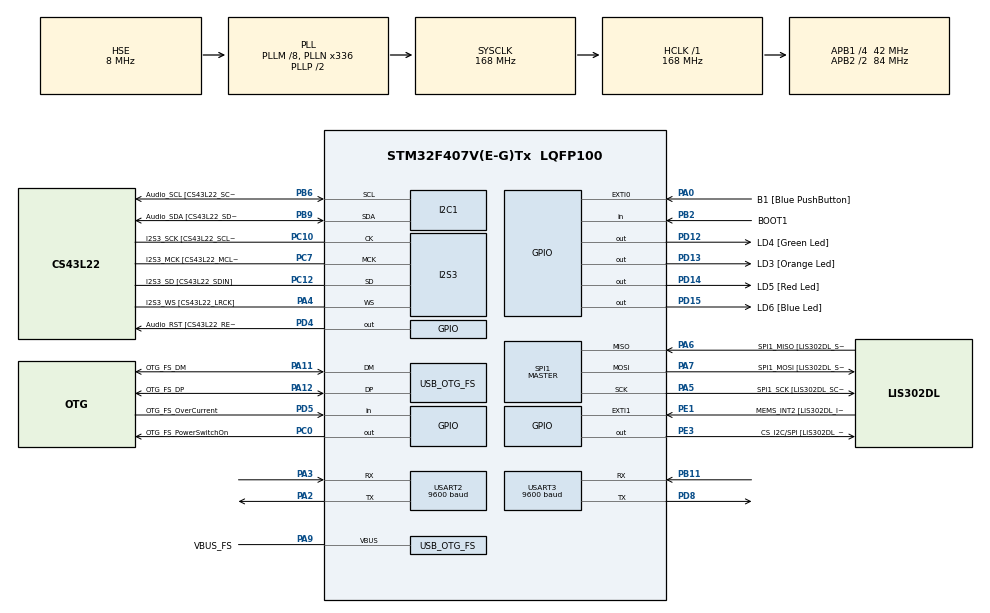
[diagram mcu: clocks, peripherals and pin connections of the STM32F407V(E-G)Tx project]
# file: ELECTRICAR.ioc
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I2S3.AudioFreq-Half_Duplex_Master=I2S_AUDIOFREQ_96K
I2S3.ErrorAudioFreq=-2.34 %
I2S3.ErrorAudioFreq-Half_Duplex_Master=0.8 %
I2S3.FullDuplexMode=I2S_FULLDUPLEXMODE_DISABLE
I2S3.Instance=SPI$Index
I2S3.RealAudioFreq=93.75 KHz
I2S3.RealAudioFreq-Half_Duplex_Master=96.774 KHz
I2S3.VirtualMode=I2S_MODE_MASTER
Mcu.Family=STM32F4
Mcu.Name=STM32F407V(E-G)Tx
Mcu.Package=LQFP100
NVIC.OTG_FS_IRQn=true\:0\:0\:false\:false\:true\:true\:true
NVIC.PriorityGroup=NVIC_PRIORITYGROUP_0
NVIC.USART2_IRQn=true\:0\:0\:false\:false\:true\:true\:true
NVIC.USART3_IRQn=true\:0\:0\:false\:false\:true\:true\:true
PA0-WKUP.GPIO_Label=B1 [Blue PushButton]
PA0-WKUP.GPIO_ModeDefaultEXTI=GPIO_MODE_EVT_RISING
PA0-WKUP.GPIO_PuPd=GPIO_NOPULL
PA0-WKUP.Signal=GPXTI0
PA10.GPIO_Label=OTG_FS_ID
PA10.GPIO_Mode=GPIO_MODE_AF_PP
PA10.GPIO_PuPd=GPIO_NOPULL
PA10.GPIO_Speed=GPIO_SPEED_FREQ_LOW
PA10.Signal=USB_OTG_FS_ID
PA11.GPIO_Label=OTG_FS_DM
PA11.GPIO_Mode=GPIO_MODE_AF_PP
PA11.GPIO_PuPd=GPIO_NOPULL
PA11.GPIO_Speed=GPIO_SPEED_FREQ_LOW
PA11.Mode=Host_Only
PA11.Signal=USB_OTG_FS_DM
PA12.GPIO_Label=OTG_FS_DP
PA12.GPIO_Mode=GPIO_MODE_AF_PP
PA12.GPIO_PuPd=GPIO_NOPULL
PA12.GPIO_Speed=GPIO_SPEED_FREQ_LOW
PA12.Mode=Host_Only
PA12.Signal=USB_OTG_FS_DP
PA13.GPIO_Label=SWDIO
PA13.Mode=Serial_Wire
PA13.Signal=SYS_JTMS-SWDIO
PA14.GPIO_Label=SWCLK
PA14.Mode=Serial_Wire
PA14.Signal=SYS_JTCK-SWCLK
PA2.Mode=Asynchronous
PA2.Signal=USART2_TX
PA3.Mode=Asynchronous
PA3.Signal=USART2_RX
PA4.GPIO_Label=I2S3_WS [CS43L22_LRCK]
PA4.GPIO_Mode=GPIO_MODE_AF_PP
PA4.GPIO_PuPd=GPIO_NOPULL
PA4.GPIO_Speed=GPIO_SPEED_FREQ_LOW
PA4.Mode=Half_Duplex_Master
PA4.Signal=I2S3_WS
PA5.GPIO_Label=SPI1_SCK [LIS302DL_SCL/SPC]
PA5.GPIO_Mode=GPIO_MODE_AF_PP
PA5.GPIO_PuPd=GPIO_NOPULL
PA5.GPIO_Speed=GPIO_SPEED_FREQ_LOW
PA5.Mode=Full_Duplex_Master
PA5.Signal=SPI1_SCK
PA6.GPIO_Label=SPI1_MISO [LIS302DL_SDO]
PA6.GPIO_Mode=GPIO_MODE_AF_PP
PA6.GPIO_PuPd=GPIO_NOPULL
PA6.GPIO_Speed=GPIO_SPEED_FREQ_LOW
PA6.Mode=Full_Duplex_Master
PA6.Signal=SPI1_MISO
PA7.GPIO_Label=SPI1_MOSI [LIS302DL_SDA/SDI/SDO]
PA7.GPIO_Mode=GPIO_MODE_AF_PP
PA7.GPIO_PuPd=GPIO_NOPULL
PA7.GPIO_Speed=GPIO_SPEED_FREQ_LOW
PA7.Mode=Full_Duplex_Master
PA7.Signal=SPI1_MOSI
PA9.GPIO_Label=VBUS_FS
PA9.GPIO_Mode=GPIO_MODE_INPUT
PA9.GPIO_PuPd=GPIO_NOPULL
PA9.Mode=Activate_VBUS
PA9.Signal=USB_OTG_FS_VBUS
PB10.GPIO_Label=CLK_IN [MP45DT02_CLK]
PB10.GPIO_Mode=GPIO_MODE_AF_PP
PB10.GPIO_PuPd=GPIO_NOPULL
PB10.GPIO_Speed=GPIO_SPEED_FREQ_LOW
PB10.Signal=I2S2_CK
PB11.Mode=Asynchronous
PB11.Signal=USART3_RX
PB2.GPIO_Label=BOOT1
PB2.GPIO_Mode=GPIO_MODE_INPUT
PB2.GPIO_PuPd=GPIO_NOPULL
PB2.Signal=GPIO_Input
PB3.GPIO_Label=SWO
PB3.Signal=SYS_JTDO-SWO
PB6.GPIO_Label=Audio_SCL [CS43L22_SCL]
PB6.GPIO_Mode=GPIO_MODE_AF_OD
PB6.GPIO_Pu=GPIO_PULLUP
PB6.GPIO_PuPd=GPIO_NOPULL
PB6.GPIO_Speed=GPIO_SPEED_FREQ_LOW
PB6.Mode=I2C
PB6.Signal=I2C1_SCL
PB9.GPIO_Label=Audio_SDA [CS43L22_SDA]
PB9.GPIO_Mode=GPIO_MODE_AF_OD
PB9.GPIO_Pu=GPIO_PULLUP
PB9.GPIO_PuPd=GPIO_NOPULL
PB9.GPIO_Speed=GPIO_SPEED_FREQ_LOW
PB9.Mode=I2C
PB9.Signal=I2C1_SDA
PC0.GPIO_Label=OTG_FS_PowerSwitchOn
PC0.GPIO_PuPd=GPIO_NOPULL
PC0.GPIO_Speed=GPIO_SPEED_FREQ_LOW
PC0.PinState=GPIO_PIN_SET
PC0.Signal=GPIO_Output
PC10.GPIO_Label=I2S3_SCK [CS43L22_SCLK]
PC10.GPIO_Mode=GPIO_MODE_AF_PP
PC10.GPIO_PuPd=GPIO_NOPULL
PC10.GPIO_Speed=GPIO_SPEED_FREQ_LOW
PC10.Mode=Half_Duplex_Master
PC10.Signal=I2S3_CK
PC12.GPIO_Label=I2S3_SD [CS43L22_SDIN]
PC12.GPIO_Mode=GPIO_MODE_AF_PP
PC12.GPIO_PuPd=GPIO_NOPULL
PC12.GPIO_Speed=GPIO_SPEED_FREQ_LOW
PC12.Mode=Half_Duplex_Master
PC12.Signal=I2S3_SD
PC14-OSC32_IN.GPIO_Label=PC14-OSC32_IN
PC14-OSC32_IN.Mode=LSE-External-Oscillator
PC14-OSC32_IN.Signal=RCC_OSC32_IN
PC15-OSC32_OUT.GPIO_Label=PC15-OSC32_OUT
PC15-OSC32_OUT.Mode=LSE-External-Oscillator
PC15-OSC32_OUT.Signal=RCC_OSC32_OUT
PC3.GPIO_Label=PDM_OUT [MP45DT02_DOUT]
PC3.GPIO_Mode=GPIO_MODE_AF_PP
PC3.GPIO_PuPd=GPIO_NOPULL
PC3.GPIO_Speed=GPIO_SPEED_FREQ_LOW
PC3.Signal=I2S2_SD
PC7.GPIO_Label=I2S3_MCK [CS43L22_MCLK]
PC7.GPIO_Mode=GPIO_MODE_AF_PP
PC7.GPIO_PuPd=GPIO_NOPULL
PC7.GPIO_Speed=GPIO_SPEED_FREQ_LOW
PC7.Mode=Master_Clock_Activated
PC7.Signal=I2S3_MCK
PD12.GPIO_Label=LD4 [Green Led]
PD12.GPIO_PuPd=GPIO_NOPULL
PD12.GPIO_Speed=GPIO_SPEED_FREQ_LOW
PD12.Signal=GPIO_Output
PD13.GPIO_Label=LD3 [Orange Led]
PD13.GPIO_PuPd=GPIO_NOPULL
PD13.GPIO_Speed=GPIO_SPEED_FREQ_LOW
PD13.Signal=GPIO_Output
PD14.GPIO_Label=LD5 [Red Led]
PD14.GPIO_PuPd=GPIO_NOPULL
PD14.GPIO_Speed=GPIO_SPEED_FREQ_LOW
PD14.Signal=GPIO_Output
PD15.GPIO_Label=LD6 [Blue Led]
PD15.GPIO_PuPd=GPIO_NOPULL
PD15.GPIO_Speed=GPIO_SPEED_FREQ_LOW
PD15.Signal=GPIO_Output
PD4.GPIO_Label=Audio_RST [CS43L22_RESET]
PD4.GPIO_PuPd=GPIO_NOPULL
PD4.GPIO_Speed=GPIO_SPEED_FREQ_LOW
PD4.Signal=GPIO_Output
PD5.GPIO_Label=OTG_FS_OverCurrent
PD5.GPIO_Mode=GPIO_MODE_INPUT
PD5.GPIO_PuPd=GPIO_NOPULL
PD5.Signal=GPIO_Input
PD8.Mode=Asynchronous
PD8.Signal=USART3_TX
PE1.GPIO_Label=MEMS_INT2 [LIS302DL_INT2]
PE1.GPIO_ModeDefaultEXTI=GPIO_MODE_EVT_RISING
PE1.GPIO_PuPd=GPIO_NOPULL
PE1.Signal=GPXTI1
PE3.GPIO_Label=CS_I2C/SPI [LIS302DL_CS_I2C/SPI]
PE3.GPIO_PuPd=GPIO_NOPULL
PE3.GPIO_Speed=GPIO_SPEED_FREQ_LOW
PE3.Signal=GPIO_Output
PH0-OSC_IN.GPIO_Label=PH0-OSC_IN
PH0-OSC_IN.Mode=HSE-External-Oscillator
PH0-OSC_IN.Signal=RCC_OSC_IN
PH1-OSC_OUT.GPIO_Label=PH1-OSC_OUT
PH1-OSC_OUT.Mode=HSE-External-Oscillator
PH1-OSC_OUT.Signal=RCC_OSC_OUT
ProjectManager.HeapSize=0x200
ProjectManager.StackSize=0x400
ProjectManager.TargetToolchain=STM32CubeIDE
RCC.48MHZClocksFreq_Value=48000000
RCC.AHBFreq_Value=168000000
RCC.APB1CLKDivider=RCC_HCLK_DIV4
RCC.APB1Freq_Value=42000000
RCC.APB1TimFreq_Value=84000000
RCC.APB2CLKDivider=RCC_HCLK_DIV2
RCC.APB2Freq_Value=84000000
RCC.APB2TimFreq_Value=168000000
RCC.CortexFreq_Value=168000000
RCC.HCLKFreq_Value=168000000
RCC.HSE_VALUE=8000000
RCC.HSI_VALUE=16000000
RCC.PLLM=8
RCC.PLLN=336
RCC.PLLQ=7
RCC.SYSCLKFreq_VALUE=168000000
RCC.SYSCLKSource=RCC_SYSCLKSOURCE_PLLCLK
RCC.VCOOutputFreq_Value=336000000
SPI1.BaudRatePrescaler-Full_Duplex_Master=SPI_BAUDRATEPRESCALER_2
SPI1.CalculateBaudRate-Full_Duplex_Master=42.0 MBits/s
SPI1.Direction=SPI_DIRECTION_2LINES
SPI1.Mode=SPI_MODE_MASTER
SPI1.Mode-Full_Duplex_Master=SPI_MODE_MASTER
SPI1.VirtualType=VM_MASTER
USART2.BaudRate=9600
USART2.VirtualMode=VM_ASYNC
USART3.BaudRate=9600
USART3.VirtualMode=VM_ASYNC
USB_HOST.BSP.number=1
USB_HOST.USBH_HandleTypeDef-CDC_FS=hUsbHostFS
USB_HOST.VirtualModeFS=Cdc
USB_HOST0.BSP.STBoard=false
USB_HOST0.BSP.api=Unknown
USB_HOST0.BSP.i2caddr=0
USB_HOST0.BSP.i2creg=0
USB_HOST0.BSP.instance=PC0
USB_HOST0.BSP.ip=GPIO
USB_HOST0.BSP.mode=Output
USB_HOST0.BSP.name=Drive_VBUS_FS
USB_HOST0.BSP.solution=PC0
USB_OTG_FS.VirtualMode=Host_Only
USB_OTG_FS.phy_itface=HCD_PHY_EMBEDDED
VP_USB_HOST_VS_USB_HOST_CDC_FS.Mode=CDC_FS
board=STM32F407G-DISC1

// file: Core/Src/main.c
/* USER CODE BEGIN Header */
/**
  ******************************************************************************
  * @file           : main.c
  * @brief          : Main program body
  ******************************************************************************
  * @attention
  *
  * Copyright (c) 2022 STMicroelectronics.
  * All rights reserved.
  *
  * This software is licensed under terms that can be found in the LICENSE file
  * in the root directory of this software component.
  * If no LICENSE file comes with this software, it is provided AS-IS.
  *
  ******************************************************************************
  */
/* USER CODE END Header */
#include "main.h"
#include "usb_host.h"

/* USER CODE BEGIN Includes */
#include "uartRingBuffer.h"
#include "NMEA.h"
/* USER CODE END Includes */

I2C_HandleTypeDef hi2c1;

I2S_HandleTypeDef hi2s3;

SPI_HandleTypeDef hspi1;

UART_HandleTypeDef huart2;
UART_HandleTypeDef huart3;

/* USER CODE BEGIN PV */
uint8_t count=0;
uint8_t val1=120;
uint8_t val2=180;
uint8_t val3=250;
uint8_t val4=120;
uint8_t val5=180;
uint8_t val6=250;
uint8_t val7=120;
uint8_t val8=180;
char dizi[100];
/* USER CODE END PV */

void SystemClock_Config(void);
static void MX_GPIO_Init(void);
static void MX_I2C1_Init(void);
static void MX_I2S3_Init(void);
static void MX_SPI1_Init(void);
static void MX_USART2_UART_Init(void);
static void MX_USART3_UART_Init(void);
void MX_USB_HOST_Process(void);

/* USER CODE BEGIN 0 */
char GGA[100];
char RMC[100];

GPSSTRUCT gpsData;

/* USER CODE END 0 */

int main(void)
{

  /* MCU Configuration--------------------------------------------------------*/

  /* Reset of all peripherals, Initializes the Flash interface and the Systick. */
  HAL_Init();

  /* Configure the system clock */
  SystemClock_Config();

  /* Initialize all configured peripherals */
  MX_GPIO_Init();
  MX_I2C1_Init();
  MX_I2S3_Init();
  MX_SPI1_Init();
  MX_USB_HOST_Init();
  MX_USART2_UART_Init();
  MX_USART3_UART_Init();
  /* USER CODE BEGIN 2 */

  Ringbuf_init();
  HAL_Delay(500);

  /* USER CODE END 2 */

  /* Infinite loop */
  while (1)
  {
    MX_USB_HOST_Process();

    /* USER CODE BEGIN 3 */

    if(Wait_for("GGA") == 1){
    	Copy_upto("*", GGA);
    	decodeGGA(GGA, &gpsData.ggastruct);
    }

    if(Wait_for("RMC") == 1){
        	Copy_upto("*", RMC);
        	decodeRMC(RMC, &gpsData.rmcstruct);
        }

    if(count==61){
    	count=0;
    }
    val1 = count;val2 = count;val3 = count;val4 = count;val5 = count;val6 = count;val7 = count;val8 = count;
    sprintf(dizi,"BG%dBS%dBY%dSOLG%dSOLS%dSAGG%dSAGS%dH%dEN%fBOY%f\n",val1,val2,val3,val4,val5,val6,val7,val8,(gpsData.ggastruct.lcation.latitude),(gpsData.ggastruct.lcation.longitude));
    HAL_UART_Transmit(&huart2, (uint8_t*)&dizi, strlen(dizi), 1000);
    HAL_Delay(10);
    count++;
  }
  /* USER CODE END 3 */
}

void SystemClock_Config(void)
{
  RCC_OscInitTypeDef RCC_OscInitStruct = {0};
  RCC_ClkInitTypeDef RCC_ClkInitStruct = {0};

  /** Configure the main internal regulator output voltage
  */
  __HAL_RCC_PWR_CLK_ENABLE();
  __HAL_PWR_VOLTAGESCALING_CONFIG(PWR_REGULATOR_VOLTAGE_SCALE1);
  /** Initializes the RCC Oscillators according to the specified parameters
  * in the RCC_OscInitTypeDef structure.
  */
  RCC_OscInitStruct.OscillatorType = RCC_OSCILLATORTYPE_HSE;
  RCC_OscInitStruct.HSEState = RCC_HSE_ON;
  RCC_OscInitStruct.PLL.PLLState = RCC_PLL_ON;
  RCC_OscInitStruct.PLL.PLLSource = RCC_PLLSOURCE_HSE;
  RCC_OscInitStruct.PLL.PLLM = 8;
  RCC_OscInitStruct.PLL.PLLN = 336;
  RCC_OscInitStruct.PLL.PLLP = RCC_PLLP_DIV2;
  RCC_OscInitStruct.PLL.PLLQ = 7;
  if (HAL_RCC_OscConfig(&RCC_OscInitStruct) != HAL_OK)
  {
    Error_Handler();
  }
  /** Initializes the CPU, AHB and APB buses clocks
  */
  RCC_ClkInitStruct.ClockType = RCC_CLOCKTYPE_HCLK|RCC_CLOCKTYPE_SYSCLK
                              |RCC_CLOCKTYPE_PCLK1|RCC_CLOCKTYPE_PCLK2;
  RCC_ClkInitStruct.SYSCLKSource = RCC_SYSCLKSOURCE_PLLCLK;
  RCC_ClkInitStruct.AHBCLKDivider = RCC_SYSCLK_DIV1;
  RCC_ClkInitStruct.APB1CLKDivider = RCC_HCLK_DIV4;
  RCC_ClkInitStruct.APB2CLKDivider = RCC_HCLK_DIV2;

  if (HAL_RCC_ClockConfig(&RCC_ClkInitStruct, FLASH_LATENCY_5) != HAL_OK)
  {
    Error_Handler();
  }
}

static void MX_I2C1_Init(void)
{

  hi2c1.Instance = I2C1;
  hi2c1.Init.ClockSpeed = 100000;
  hi2c1.Init.DutyCycle = I2C_DUTYCYCLE_2;
  hi2c1.Init.OwnAddress1 = 0;
  hi2c1.Init.AddressingMode = I2C_ADDRESSINGMODE_7BIT;
  hi2c1.Init.DualAddressMode = I2C_DUALADDRESS_DISABLE;
  hi2c1.Init.OwnAddress2 = 0;
  hi2c1.Init.GeneralCallMode = I2C_GENERALCALL_DISABLE;
  hi2c1.Init.NoStretchMode = I2C_NOSTRETCH_DISABLE;
  if (HAL_I2C_Init(&hi2c1) != HAL_OK)
  {
    Error_Handler();
  }

}

static void MX_I2S3_Init(void)
{

  hi2s3.Instance = SPI3;
  hi2s3.Init.Mode = I2S_MODE_MASTER_TX;
  hi2s3.Init.Standard = I2S_STANDARD_PHILIPS;
  hi2s3.Init.DataFormat = I2S_DATAFORMAT_16B;
  hi2s3.Init.MCLKOutput = I2S_MCLKOUTPUT_ENABLE;
  hi2s3.Init.AudioFreq = I2S_AUDIOFREQ_96K;
  hi2s3.Init.CPOL = I2S_CPOL_LOW;
  hi2s3.Init.ClockSource = I2S_CLOCK_PLL;
  hi2s3.Init.FullDuplexMode = I2S_FULLDUPLEXMODE_DISABLE;
  if (HAL_I2S_Init(&hi2s3) != HAL_OK)
  {
    Error_Handler();
  }

}

static void MX_SPI1_Init(void)
{

  /* SPI1 parameter configuration*/
  hspi1.Instance = SPI1;
  hspi1.Init.Mode = SPI_MODE_MASTER;
  hspi1.Init.Direction = SPI_DIRECTION_2LINES;
  hspi1.Init.DataSize = SPI_DATASIZE_8BIT;
  hspi1.Init.CLKPolarity = SPI_POLARITY_LOW;
  hspi1.Init.CLKPhase = SPI_PHASE_1EDGE;
  hspi1.Init.NSS = SPI_NSS_SOFT;
  hspi1.Init.BaudRatePrescaler = SPI_BAUDRATEPRESCALER_2;
  hspi1.Init.FirstBit = SPI_FIRSTBIT_MSB;
  hspi1.Init.TIMode = SPI_TIMODE_DISABLE;
  hspi1.Init.CRCCalculation = SPI_CRCCALCULATION_DISABLE;
  hspi1.Init.CRCPolynomial = 10;
  if (HAL_SPI_Init(&hspi1) != HAL_OK)
  {
    Error_Handler();
  }

}

static void MX_USART2_UART_Init(void)
{

  huart2.Instance = USART2;
  huart2.Init.BaudRate = 9600;
  huart2.Init.WordLength = UART_WORDLENGTH_8B;
  huart2.Init.StopBits = UART_STOPBITS_1;
  huart2.Init.Parity = UART_PARITY_NONE;
  huart2.Init.Mode = UART_MODE_TX_RX;
  huart2.Init.HwFlowCtl = UART_HWCONTROL_NONE;
  huart2.Init.OverSampling = UART_OVERSAMPLING_16;
  if (HAL_UART_Init(&huart2) != HAL_OK)
  {
    Error_Handler();
  }

}

static void MX_USART3_UART_Init(void)
{

  huart3.Instance = USART3;
  huart3.Init.BaudRate = 9600;
  huart3.Init.WordLength = UART_WORDLENGTH_8B;
  huart3.Init.StopBits = UART_STOPBITS_1;
  huart3.Init.Parity = UART_PARITY_NONE;
  huart3.Init.Mode = UART_MODE_TX_RX;
  huart3.Init.HwFlowCtl = UART_HWCONTROL_NONE;
  huart3.Init.OverSampling = UART_OVERSAMPLING_16;
  if (HAL_UART_Init(&huart3) != HAL_OK)
  {
    Error_Handler();
  }

}

static void MX_GPIO_Init(void)
{
  GPIO_InitTypeDef GPIO_InitStruct = {0};

  /* GPIO Ports Clock Enable */
  __HAL_RCC_GPIOE_CLK_ENABLE();
  __HAL_RCC_GPIOC_CLK_ENABLE();
  __HAL_RCC_GPIOH_CLK_ENABLE();
  __HAL_RCC_GPIOA_CLK_ENABLE();
  __HAL_RCC_GPIOB_CLK_ENABLE();
  __HAL_RCC_GPIOD_CLK_ENABLE();

  /*Configure GPIO pin Output Level */
  HAL_GPIO_WritePin(CS_I2C_SPI_GPIO_Port, CS_I2C_SPI_Pin, GPIO_PIN_RESET);

  /*Configure GPIO pin Output Level */
  HAL_GPIO_WritePin(OTG_FS_PowerSwitchOn_GPIO_Port, OTG_FS_PowerSwitchOn_Pin, GPIO_PIN_SET);

  /*Configure GPIO pin Output Level */
  HAL_GPIO_WritePin(GPIOD, LD4_Pin|LD3_Pin|LD5_Pin|LD6_Pin
                          |Audio_RST_Pin, GPIO_PIN_RESET);

  /*Configure GPIO pin : CS_I2C_SPI_Pin */
  GPIO_InitStruct.Pin = CS_I2C_SPI_Pin;
  GPIO_InitStruct.Mode = GPIO_MODE_OUTPUT_PP;
  GPIO_InitStruct.Pull = GPIO_NOPULL;
  GPIO_InitStruct.Speed = GPIO_SPEED_FREQ_LOW;
  HAL_GPIO_Init(CS_I2C_SPI_GPIO_Port, &GPIO_InitStruct);

  /*Configure GPIO pin : OTG_FS_PowerSwitchOn_Pin */
  GPIO_InitStruct.Pin = OTG_FS_PowerSwitchOn_Pin;
  GPIO_InitStruct.Mode = GPIO_MODE_OUTPUT_PP;
  GPIO_InitStruct.Pull = GPIO_NOPULL;
  GPIO_InitStruct.Speed = GPIO_SPEED_FREQ_LOW;
  HAL_GPIO_Init(OTG_FS_PowerSwitchOn_GPIO_Port, &GPIO_InitStruct);

  /*Configure GPIO pin : PDM_OUT_Pin */
  GPIO_InitStruct.Pin = PDM_OUT_Pin;
  GPIO_InitStruct.Mode = GPIO_MODE_AF_PP;
  GPIO_InitStruct.Pull = GPIO_NOPULL;
  GPIO_InitStruct.Speed = GPIO_SPEED_FREQ_LOW;
  GPIO_InitStruct.Alternate = GPIO_AF5_SPI2;
  HAL_GPIO_Init(PDM_OUT_GPIO_Port, &GPIO_InitStruct);

  /*Configure GPIO pin : B1_Pin */
  GPIO_InitStruct.Pin = B1_Pin;
  GPIO_InitStruct.Mode = GPIO_MODE_EVT_RISING;
  GPIO_InitStruct.Pull = GPIO_NOPULL;
  HAL_GPIO_Init(B1_GPIO_Port, &GPIO_InitStruct);

  /*Configure GPIO pin : BOOT1_Pin */
  GPIO_InitStruct.Pin = BOOT1_Pin;
  GPIO_InitStruct.Mode = GPIO_MODE_INPUT;
  GPIO_InitStruct.Pull = GPIO_NOPULL;
  HAL_GPIO_Init(BOOT1_GPIO_Port, &GPIO_InitStruct);

  /*Configure GPIO pin : CLK_IN_Pin */
  GPIO_InitStruct.Pin = CLK_IN_Pin;
  GPIO_InitStruct.Mode = GPIO_MODE_AF_PP;
  GPIO_InitStruct.Pull = GPIO_NOPULL;
  GPIO_InitStruct.Speed = GPIO_SPEED_FREQ_LOW;
  GPIO_InitStruct.Alternate = GPIO_AF5_SPI2;
  HAL_GPIO_Init(CLK_IN_GPIO_Port, &GPIO_InitStruct);

  /*Configure GPIO pins : LD4_Pin LD3_Pin LD5_Pin LD6_Pin
                           Audio_RST_Pin */
  GPIO_InitStruct.Pin = LD4_Pin|LD3_Pin|LD5_Pin|LD6_Pin
                          |Audio_RST_Pin;
  GPIO_InitStruct.Mode = GPIO_MODE_OUTPUT_PP;
  GPIO_InitStruct.Pull = GPIO_NOPULL;
  GPIO_InitStruct.Speed = GPIO_SPEED_FREQ_LOW;
  HAL_GPIO_Init(GPIOD, &GPIO_InitStruct);

  /*Configure GPIO pin : OTG_FS_OverCurrent_Pin */
  GPIO_InitStruct.Pin = OTG_FS_OverCurrent_Pin;
  GPIO_InitStruct.Mode = GPIO_MODE_INPUT;
  GPIO_InitStruct.Pull = GPIO_NOPULL;
  HAL_GPIO_Init(OTG_FS_OverCurrent_GPIO_Port, &GPIO_InitStruct);

  /*Configure GPIO pin : MEMS_INT2_Pin */
  GPIO_InitStruct.Pin = MEMS_INT2_Pin;
  GPIO_InitStruct.Mode = GPIO_MODE_EVT_RISING;
  GPIO_InitStruct.Pull = GPIO_NOPULL;
  HAL_GPIO_Init(MEMS_INT2_GPIO_Port, &GPIO_InitStruct);

}

void Error_Handler(void)
{
  __disable_irq();
  while (1)
  {
  }
}
